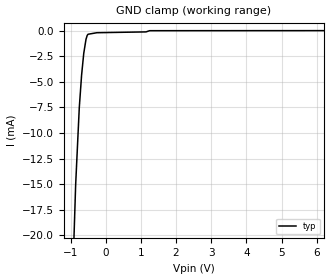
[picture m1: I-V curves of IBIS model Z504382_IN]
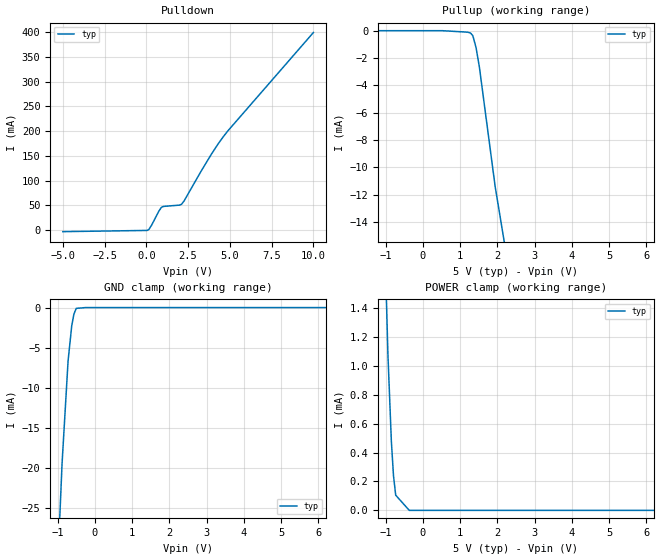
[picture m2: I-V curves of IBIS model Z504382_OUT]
| YOU ARE ONLY AUTHORIZED TO USE THIS SOFTWARE
| ACCORDING TO LICENSOR'S LICENSE RESTRICTIONS.
[IBIS Ver] 3.1
[File Name] sn54ls147j.ibs
[File Rev] 2.0
[Source] Measured and created by ICX Technology
[Date] Friday 7/14/00 9:08:13 AM
[Copyright]
| (C) COPYRIGHT 1993-2000
| MENTOR GRAPHICS CORPORATION
| ICX STANDARD LIBRARY, ICX PROJECT MODELING,
| ICX CUSTOM MODELING, ICX VENDOR MODEL
| ALL RIGHTS RESERVED.
| THE FOLLOWING ARE TRADEMARKS OR SERVICE MARKS OF
| MENTOR GRAPHICS CORPORATION:ICX (R), ICX STANDARD
| LIBRARY(R), ICX PROJECT MODELING(R), ICX CUSTOM
| MODELING(R), qualityIBIS(TM), MODELVIEWER(TM),
| AND MODELEDITOR(TM)
| ALL COPIES OF SOFTWARE, INCLUDING BUT NOT LIMITED TO
| ANY MODIFICATIONS, ENHANCEMENTS OR DERIVATIVE WORKS,
| MUST CONTAIN ALL MENTOR GRAPHICS CORPORATION'S
| NOTICES AND LEGENDS, INCLUDING THOSE EMBEDDED IN
| SOFTWARE AND THOSE AFFIXED TO SOFTWARE MEDIUM
| AND CONTAINER, AS RECEIVED FROM MENTOR GRAPHICS
| CORPORATION.
|  ZAP Model Builder 2.7
[Component] SN54LS147J
[Manufacturer] OnSemiconductor
[Package]
| variable   typ   min   max
R_pkg  .212ohms NA NA
L_pkg  4.758nH NA NA
C_pkg  1.944pF NA NA
[Pin] signal_name  model_name  R_pin  L_pin C_pin
1 _D3 Z504382_IN .224 7.258n 2.683p
2 _D4 Z504382_IN .216 5.258n 2.19p
3 _D5 Z504382_IN .208 3.758n 1.697p
4 _D6 Z504382_IN .2 2.758n 1.204p
5 _D7 Z504382_IN .2 2.758n 1.204p
6 _Y2 Z504382_OUT .208 3.758n 1.697p
7 _Y1 Z504382_OUT .216 5.258n 2.19p
8 GND GND .224 7.258n 2.683p
9 _Y0 Z504382_OUT .224 7.258n 2.683p
10 _D8 Z504382_IN .216 5.258n 2.19p
11 _D0 Z504382_IN .208 3.758n 1.697p
12 _D1 Z504382_IN .2 2.758n 1.204p
13 _D2 Z504382_IN .2 2.758n 1.204p
14 _Y3 Z504382_OUT .208 3.758n 1.697p
15 NC NC .216 5.258n 2.19p
16 VCC POWER .224 7.258n 2.683p
| Models and submodels in the file (2): Z504382_IN (Input), Z504382_OUT (Output)
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| (C) COPYRIGHT 1993-2000
| MENTOR GRAPHICS CORPORATION
| ICX STANDARD LIBRARY, ICX PROJECT MODELING,
| ICX CUSTOM MODELING, ICX VENDOR MODEL
| ALL RIGHTS RESERVED.
| THE FOLLOWING ARE TRADEMARKS OR SERVICE MARKS OF
| MENTOR GRAPHICS CORPORATION:ICX (R), ICX STANDARD
| LIBRARY(R), ICX PROJECT MODELING(R), ICX CUSTOM
| MODELING(R), qualityIBIS(TM), MODELVIEWER(TM),
| AND MODELEDITOR(TM)
| ALL COPIES OF SOFTWARE, INCLUDING BUT NOT LIMITED TO
| ANY MODIFICATIONS, ENHANCEMENTS OR DERIVATIVE WORKS,
| MUST CONTAIN ALL MENTOR GRAPHICS CORPORATION'S
| NOTICES AND LEGENDS, INCLUDING THOSE EMBEDDED IN
| SOFTWARE AND THOSE AFFIXED TO SOFTWARE MEDIUM
| AND CONTAINER, AS RECEIVED FROM MENTOR GRAPHICS
| CORPORATION.
| Model Application Version 1.89 2/18/99.
[Model] Z504382_IN
Model_type Input
Vinl = 800.0mV
Vinh = 2.000V
C_comp 4.000pF NA NA
| variable typ   min   max
[Voltage Range] 5.000V NA NA
[GND Clamp Reference] 0.000V NA NA
[POWER Clamp Reference] 5.000V NA NA
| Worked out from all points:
|   GND clamp passes 1 mA (typ) near -0.57 V on its own axis
[GND Clamp]
-5V       -462mA     NA         NA
-854.7mV  -15.02mA   NA         NA
-751.9mV  -7.523mA   NA         NA
-685.7mV  -4.32mA    NA         NA
-625mV    -2.223mA   NA         NA
-561.5mV  -854.8uA   NA         NA
-527.3mV  -470.8uA   NA         NA
-502.9mV  -353.8uA   NA         NA
-251.5mV  -202.8uA   NA         NA
1.145V    -123.2uA   NA         NA
1.247V    -5.413uA   NA         NA
10V       6.18uA     NA         NA
[POWER Clamp]
-5V       0A         NA         NA
10V       0A         NA         NA
| (C) COPYRIGHT 1993-2000
| MENTOR GRAPHICS CORPORATION
| ICX STANDARD LIBRARY, ICX PROJECT MODELING,
| ICX CUSTOM MODELING, ICX VENDOR MODEL
| ALL RIGHTS RESERVED.
| THE FOLLOWING ARE TRADEMARKS OR SERVICE MARKS OF
| MENTOR GRAPHICS CORPORATION:ICX (R), ICX STANDARD
| LIBRARY(R), ICX PROJECT MODELING(R), ICX CUSTOM
| MODELING(R), qualityIBIS(TM), MODELVIEWER(TM),
| AND MODELEDITOR(TM)
| ALL COPIES OF SOFTWARE, INCLUDING BUT NOT LIMITED TO
| ANY MODIFICATIONS, ENHANCEMENTS OR DERIVATIVE WORKS,
| MUST CONTAIN ALL MENTOR GRAPHICS CORPORATION'S
| NOTICES AND LEGENDS, INCLUDING THOSE EMBEDDED IN
| SOFTWARE AND THOSE AFFIXED TO SOFTWARE MEDIUM
| AND CONTAINER, AS RECEIVED FROM MENTOR GRAPHICS
| CORPORATION.
| Model Application Version 1.89 2/18/99.
[Model] Z504382_OUT
Model_type Output
Vref=5.000V
Rref=2.000kohms
Cref=15.00pF
Vmeas=1.300V
C_comp 8.000pF NA NA
| variable typ   min   max
[Voltage Range] 5.000V NA NA
[POWER Clamp Reference] 5.000V NA NA
[Pullup Reference] 5.000V NA NA
[Pulldown Reference] 0.000V NA NA
[GND Clamp Reference] 0.000V NA NA
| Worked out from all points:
|   slope of the pulldown table from 0 to 0.75 V, typ, clamps not added: 19.2 ohm
|   slope of the pullup table from 0 to 0.75 V, typ, clamps not added: 20.9 kohm
|   GND clamp passes 1 mA (typ) near -0.57 V on its own axis
|   POWER clamp passes 1 mA (typ) near -0.92 V on its own axis
[GND Clamp]
-5V       -552.8mA   NA         NA
-1.045V   -37.15mA   NA         NA
-883.5mV  -19.5mA    NA         NA
-722.3mV  -6.685mA   NA         NA
-624.5mV  -2.289mA   NA         NA
-566.5mV  -834.8uA   NA         NA
-503.8mV  -101.3uA   NA         NA
-251.9mV  0A         NA         NA
10V       0A         NA         NA
[Pulldown]
-5V       -3.441mA   NA         NA
68.4mV    -753.8uA   NA         NA
151.2mV   975.7uA    NA         NA
320.8mV   9.964mA    NA         NA
747.1mV   37.87mA    NA         NA
894mV     45.24mA    NA         NA
1.074V    47.73mA    NA         NA
2.105V    51.89mA    NA         NA
2.26V     58.68mA    NA         NA
3.907V    154mA      NA         NA
4.61V     188.7mA    NA         NA
10V       399.4mA    NA         NA
[Pullup]
-5V       14.07uA    NA         NA
527mV     14.07uA    NA         NA
1.202V    -94.62uA   NA         NA
1.279V    -155.4uA   NA         NA
1.342V    -341.8uA   NA         NA
1.43V     -1.233mA   NA         NA
1.519V    -2.657mA   NA         NA
1.943V    -11.42mA   NA         NA
10V       -145mA     NA         NA
[POWER Clamp]
-5V       39.42mA    NA         NA
-937mV    1.079mA    NA         NA
-845mV    480.8uA    NA         NA
-788mV    242uA      NA         NA
-728mV    105uA      NA         NA
-364mV    0A         NA         NA
10V       0A         NA         NA
[Ramp]
| variable typ min max
dV/dt_r 1.917/14.31n NA NA
dV/dt_f 1.917/1.836n NA NA
R_load = 500.0Ohms
